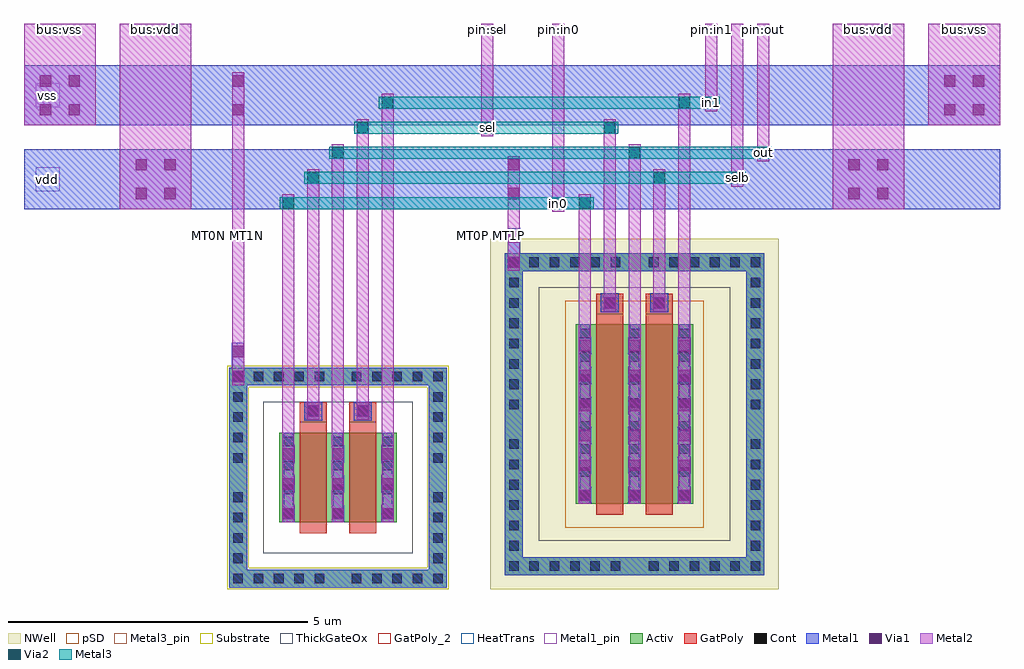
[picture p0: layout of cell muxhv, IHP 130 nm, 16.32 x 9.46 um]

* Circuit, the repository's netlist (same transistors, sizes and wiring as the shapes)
** sch_path: /foss/designs/Designs/bidir-level-shifter/xschem/logic_gates/MUXHV.sch
.subckt MUXHV in0 in1 sel selb out vdd vss
*.PININFO out:B in0:B in1:B sel:B selb:B vdd:B vss:B
MMT0N out selb in0 vss sg13_hv_nmos w=1.5u l=0.45u ng=1
MMT0P out sel in0 vdd sg13_hv_pmos w=3.0u l=0.45u ng=1
MMT1N out sel in1 vss sg13_hv_nmos w=1.5u l=0.45u ng=1
MMT1P out selb in1 vdd sg13_hv_pmos w=3.0u l=0.45u ng=1
.ends

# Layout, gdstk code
import gdstk
lib = gdstk.Library(unit=1e-6, precision=1e-09)
def R(c, l, rs):  # rectangles x0, y0, x1, y1
    for r in rs: c.add(gdstk.rectangle(r[:2], r[2:], *l))
def A(c, l, x, y, w, h, nx, ny, dx, dy):  # array of equal rectangles
    R(c, l, [(x+i*dx, y+j*dy, x+i*dx+w, y+j*dy+h) for i in range(nx) for j in range(ny)])
def P(c, l, *ps):  # polygons
    for p in ps: c.add(gdstk.Polygon(p, *l))
Activ = (1, 0)
GatPoly = (5, 0)
GatPoly_2 = (5, 2)
Cont = (6, 0)
Metal1 = (8, 0)
Metal1_pin = (8, 2)
Metal2 = (10, 0)
pSD = (14, 0)
Via1 = (19, 0)
Via2 = (29, 0)
Metal3 = (30, 0)
Metal3_pin = (30, 2)
NWell = (31, 0)
Substrate = (40, 0)
ThickGateOx = (44, 0)
HeatTrans = (51, 0)

nmoshv = lib.new_cell('nmosHV')
A(nmoshv, Activ, 0, 0, 0.3, 0.3, 3, 1, 0.83, 0)
R(nmoshv, Activ, [(0,0,1.96,1.5)])
R(nmoshv, GatPoly, [(0.34,-0.18,0.79,1.68), (1.17,-0.18,1.62,1.68)])
R(nmoshv, GatPoly_2, [(0.34,-0.18,0.79,1.68)])
A(nmoshv, Cont, 0.07, 0.07, 0.16, 0.16, 3, 4, 0.83, 0.4)
A(nmoshv, Metal1, 0.07, 0, 0.16, 1.5, 3, 1, 0.83, 0)
R(nmoshv, Metal1_pin, [(0.07,0,0.23,1.5), (0.9,0,1.06,1.5)])
R(nmoshv, ThickGateOx, [(-0.27,-0.52,2.23,2.02)])
R(nmoshv, HeatTrans, [(0.34,-0.18,0.79,1.68), (1.17,-0.18,1.62,1.68)])
nmoshv.add(gdstk.Label('nmosHV', (0.565,0.75), layer=63, texttype=0))
nmoshv.add(gdstk.Label('nmosHV', (0.565,0.75), layer=51, texttype=0))
nmoshv.add(gdstk.Label('nmosHV', (1.395,0.75), layer=51, texttype=0))

guard_ring = lib.new_cell('guard_ring')
R(guard_ring, Activ, [(-1.82,-1.54,-1.52,1.54), (1.52,-1.54,1.82,1.54), (-1.82,1.54,1.82,1.84)])
P(guard_ring, Activ, [(-1.82,-1.84),(-1.82,1.54),(-1.52,1.54),(-1.52,-1.54),(1.52,-1.54),(1.52,1.54),(-1.82,1.54),(-1.82,1.84),(1.82,1.84),(1.82,-1.84)])
A(guard_ring, Cont, -1.75, -1.77, 0.16, 0.16, 5, 2, 0.34, 3.38)
A(guard_ring, Cont, 0.23, -1.77, 0.16, 0.16, 5, 2, 0.34, 3.38)
A(guard_ring, Cont, -1.75, -1.43, 0.16, 0.16, 1, 4, 0, 0.34)
A(guard_ring, Cont, 1.59, -1.43, 0.16, 0.16, 1, 4, 0, 0.34)
A(guard_ring, Cont, -1.75, 0.25, 0.16, 0.16, 1, 4, 0, 0.34)
A(guard_ring, Cont, 1.59, 0.25, 0.16, 0.16, 1, 4, 0, 0.34)
R(guard_ring, Metal1, [(-1.82,-1.84,1.82,-1.54), (-1.82,-1.54,-1.52,1.54), (1.52,-1.54,1.82,1.54), (-1.82,1.54,1.82,1.84)])
R(guard_ring, pSD, [(-1.85,-1.51,-1.49,1.51), (1.49,-1.51,1.85,1.51), (-1.85,1.51,1.85,1.87)])
P(guard_ring, pSD, [(-1.85,-1.87),(-1.85,1.51),(-1.49,1.51),(-1.49,-1.51),(1.49,-1.51),(1.49,1.51),(-1.85,1.51),(-1.85,1.87),(1.85,1.87),(1.85,-1.87)])
R(guard_ring, Substrate, [(-1.85,-1.51,-1.49,1.51), (1.49,-1.51,1.85,1.51), (-1.85,1.51,1.85,1.87)])
P(guard_ring, Substrate, [(-1.85,-1.87),(-1.85,1.51),(-1.49,1.51),(-1.49,-1.51),(1.49,-1.51),(1.49,1.51),(-1.85,1.51),(-1.85,1.87),(1.85,1.87),(1.85,-1.87)])
guard_ring.add(gdstk.Label('sub!', (0,-1.69), layer=63, texttype=0))

pmoshv = lib.new_cell('pmosHV')
A(pmoshv, Activ, 0, 0, 0.3, 0.3, 3, 1, 0.83, 0)
R(pmoshv, Activ, [(0,0,1.96,3)])
R(pmoshv, GatPoly, [(0.34,-0.18,0.79,3.18), (1.17,-0.18,1.62,3.18)])
R(pmoshv, GatPoly_2, [(0.34,-0.18,0.79,3.18)])
A(pmoshv, Cont, 0.07, 0.07, 0.16, 0.16, 3, 7, 0.83, 0.385)
A(pmoshv, Cont, 0.07, 2.77, 0.16, 0.16, 3, 1, 0.83, 0)
A(pmoshv, Metal1, 0.07, 0, 0.16, 3, 3, 1, 0.83, 0)
R(pmoshv, Metal1_pin, [(0.07,0,0.23,3), (0.9,0,1.06,3)])
R(pmoshv, pSD, [(-0.18,-0.4,2.14,3.4)])
R(pmoshv, NWell, [(-0.62,-0.62,2.58,3.62)])
R(pmoshv, ThickGateOx, [(-0.62,-0.62,2.58,3.62)])
R(pmoshv, HeatTrans, [(0.34,-0.18,0.79,3.18), (1.17,-0.18,1.62,3.18)])
pmoshv.add(gdstk.Label('pmosHV', (0.565,1.5), layer=63, texttype=0))
pmoshv.add(gdstk.Label('pmos', (0.565,1.5), layer=51, texttype=0))
pmoshv.add(gdstk.Label('pmos', (1.395,1.5), layer=51, texttype=0))

guard_ring_1 = lib.new_cell('guard_ring$1')
R(guard_ring_1, Activ, [(-2.17,-2.39,-1.87,2.39), (1.87,-2.39,2.17,2.39), (-2.17,2.39,2.17,2.69)])
P(guard_ring_1, Activ, [(-2.17,-2.69),(-2.17,2.39),(-1.87,2.39),(-1.87,-2.39),(1.87,-2.39),(1.87,2.39),(-2.17,2.39),(-2.17,2.69),(2.17,2.69),(2.17,-2.69)])
A(guard_ring_1, Cont, -2.1, -2.62, 0.16, 0.16, 6, 2, 0.34, 5.08)
A(guard_ring_1, Cont, 0.24, -2.62, 0.16, 0.16, 6, 2, 0.34, 5.08)
A(guard_ring_1, Cont, -2.1, -2.28, 0.16, 0.16, 1, 6, 0, 0.34)
A(guard_ring_1, Cont, 1.94, -2.28, 0.16, 0.16, 1, 6, 0, 0.34)
A(guard_ring_1, Cont, -2.1, 0.08, 0.16, 0.16, 1, 7, 0, 0.34)
A(guard_ring_1, Cont, 1.94, 0.08, 0.16, 0.16, 1, 7, 0, 0.34)
R(guard_ring_1, Metal1, [(-2.17,-2.69,2.17,-2.39), (-2.17,-2.39,-1.87,2.39), (1.87,-2.39,2.17,2.39), (-2.17,2.39,2.17,2.69)])
R(guard_ring_1, NWell, [(-2.41,-2.93,2.41,2.93)])
guard_ring_1.add(gdstk.Label('well', (0,-2.54), layer=63, texttype=0))

muxhv = lib.new_cell('muxhv')
R(muxhv, GatPoly, [(1.21,2.8,1.66,3.13), (2.04,2.8,2.49,3.13), (6.17,4.61,6.62,4.94), (7,4.61,7.45,4.94)])
R(muxhv, Cont, [(1.355,2.9,1.515,3.06), (2.185,2.9,2.345,3.06), (6.315,4.71,6.475,4.87), (7.145,4.71,7.305,4.87)])
A(muxhv, Metal1, 0.915, 1.12, 0.21, 0.29, 3, 3, 0.83, 0.5)
A(muxhv, Metal1, 5.875, 1.43, 0.21, 0.29, 3, 6, 0.83, 0.5)
R(muxhv, Metal1, [(1.285,2.82,1.585,3.14), (2.115,2.82,2.415,3.14), (1.33,2.835,1.54,3.125), (2.16,2.835,2.37,3.125), (0.075,3.415,0.285,3.705), (0.075,3.415,0.285,4.125), (6.245,4.63,6.545,4.95), (7.075,4.63,7.375,4.95), (6.29,4.645,6.5,4.935), (7.12,4.645,7.33,4.935), (4.685,5.325,4.895,5.615), (4.685,5.325,4.895,6.035), (-3.4,6.36,12.92,7.36), (-3.4,7.76,12.92,8.76)])
R(muxhv, Metal1_pin, [(-3.2,6.66,-2.8,7.06), (-3.2,8.06,-2.8,8.46)])
R(muxhv, Metal2, [(0.92,1.12,1.12,6.605), (1.75,1.12,1.95,7.445), (2.58,1.12,2.78,8.285), (5.88,1.43,6.08,6.605), (6.71,1.43,6.91,7.445), (7.54,1.43,7.74,8.285), (1.335,2.835,1.535,7.025), (2.165,2.835,2.365,7.865), (0.08,3.415,0.28,8.645), (6.295,4.645,6.495,7.865), (7.125,4.645,7.325,7.025), (4.69,5.325,4.89,7.245), (5.43,6.315,5.63,9.46), (-1.8,6.36,-0.6,9.46), (10.12,6.36,11.32,9.46), (8.425,6.735,8.625,9.46), (8.86,7.155,9.06,9.46), (4.245,7.575,4.445,9.46), (-3.4,7.76,-2.2,9.46), (11.72,7.76,12.92,9.46), (7.99,7.995,8.19,9.46)])
A(muxhv, Via1, 0.925, 1.17, 0.19, 0.19, 3, 3, 0.83, 0.5)
A(muxhv, Via1, 5.885, 1.48, 0.19, 0.19, 3, 6, 0.83, 0.5)
R(muxhv, Via1, [(1.34,2.885,1.53,3.075), (2.17,2.885,2.36,3.075), (0.085,3.465,0.275,3.655), (0.085,3.885,0.275,4.075), (6.3,4.695,6.49,4.885), (7.13,4.695,7.32,4.885), (4.695,5.375,4.885,5.565), (4.695,5.795,4.885,5.985), (-1.535,6.525,-1.345,6.715), (-1.055,6.525,-0.865,6.715), (4.695,6.525,4.885,6.715), (10.385,6.525,10.575,6.715), (10.865,6.525,11.055,6.715), (-1.535,7.005,-1.345,7.195), (-1.055,7.005,-0.865,7.195), (4.695,7.005,4.885,7.195), (10.385,7.005,10.575,7.195), (10.865,7.005,11.055,7.195), (-3.135,7.925,-2.945,8.115), (-2.655,7.925,-2.465,8.115), (0.085,7.925,0.275,8.115), (11.985,7.925,12.175,8.115), (12.465,7.925,12.655,8.115), (-3.135,8.405,-2.945,8.595), (-2.655,8.405,-2.465,8.595), (0.085,8.405,0.275,8.595), (11.985,8.405,12.175,8.595), (12.465,8.405,12.655,8.595)])
R(muxhv, Via2, [(0.925,6.365,1.115,6.555), (5.435,6.365,5.625,6.555), (5.885,6.365,6.075,6.555), (1.34,6.785,1.53,6.975), (7.13,6.785,7.32,6.975), (8.43,6.785,8.62,6.975), (1.755,7.205,1.945,7.395), (6.715,7.205,6.905,7.395), (8.865,7.205,9.055,7.395), (2.17,7.625,2.36,7.815), (4.25,7.625,4.44,7.815), (6.3,7.625,6.49,7.815), (2.585,8.045,2.775,8.235), (7.545,8.045,7.735,8.235), (7.995,8.045,8.185,8.235)])
R(muxhv, Metal3, [(0.875,6.36,6.125,6.56), (1.29,6.78,8.67,6.98), (1.705,7.2,9.105,7.4), (2.12,7.62,6.54,7.82), (2.535,8.04,8.235,8.24)])
R(muxhv, Metal3_pin, [(5.465,6.395,5.595,6.525), (8.46,6.815,8.59,6.945), (8.895,7.235,9.025,7.365), (4.28,7.655,4.41,7.785), (8.025,8.075,8.155,8.205)])
R(muxhv, ThickGateOx, [(0.6,0.6,3.1,3.14), (5.21,0.81,8.41,5.05)])
muxhv.add(gdstk.Reference(nmoshv, (0.87,1.12)))
muxhv.add(gdstk.Reference(guard_ring, (1.85,1.87)))
muxhv.add(gdstk.Reference(pmoshv, (5.83,1.43)))
muxhv.add(gdstk.Reference(guard_ring_1, (6.81,2.93)))
muxhv.add(gdstk.Label('vdd', (-3,6.86), layer=8, texttype=25))
muxhv.add(gdstk.Label('vss', (-3,8.26), layer=8, texttype=25))
muxhv.add(gdstk.Label('in0', (5.53,6.46), layer=30, texttype=25))
muxhv.add(gdstk.Label('in1', (8.09,8.14), layer=30, texttype=25))
muxhv.add(gdstk.Label('sel', (4.345,7.72), layer=30, texttype=25))
muxhv.add(gdstk.Label('selb', (8.525,6.88), layer=30, texttype=25))
muxhv.add(gdstk.Label('out', (8.96,7.3), layer=30, texttype=25))
muxhv.add(gdstk.Label('MT0N MT1N', (0,5.91), layer=63, texttype=0))
muxhv.add(gdstk.Label('MT0P MT1P', (4.4,5.91), layer=63, texttype=0))
muxhv.add(gdstk.Label('pin:in0', (5.53,9.36), layer=63, texttype=0))
muxhv.add(gdstk.Label('pin:in1', (8.09,9.36), layer=63, texttype=0))
muxhv.add(gdstk.Label('pin:sel', (4.345,9.36), layer=63, texttype=0))
muxhv.add(gdstk.Label('pin:selb', (8.525,9.36), layer=63, texttype=0))
muxhv.add(gdstk.Label('pin:out', (8.96,9.36), layer=63, texttype=0))
muxhv.add(gdstk.Label('bus:vdd', (-1.2,9.36), layer=63, texttype=0))
muxhv.add(gdstk.Label('bus:vdd', (10.72,9.36), layer=63, texttype=0))
muxhv.add(gdstk.Label('bus:vss', (-2.8,9.36), layer=63, texttype=0))
muxhv.add(gdstk.Label('bus:vss', (12.32,9.36), layer=63, texttype=0))

lib.write_gds('muxhv.gds')
